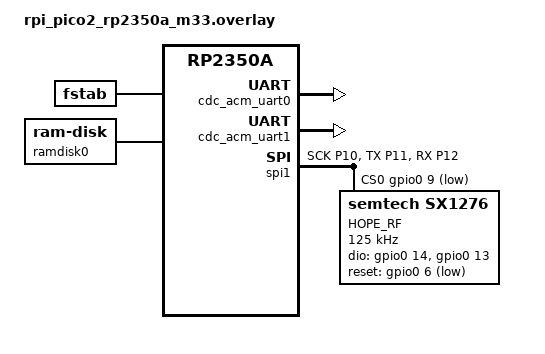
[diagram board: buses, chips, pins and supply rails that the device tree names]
&zephyr_udc0 {
    // Control port
    cdc_acm_uart0: cdc_acm_uart0 {
        compatible = "zephyr,cdc-acm-uart";
    };
    // Data port
    cdc_acm_uart1: cdc_acm_uart1 {
        compatible = "zephyr,cdc-acm-uart";
    };
};

&pinctrl {
    spi1_default: spi1_default {
        group1 {
            pinmux = <SPI1_SCK_P10>, <SPI1_TX_P11>;
        };

        group2 {
            pinmux = <SPI1_RX_P12>;
            input-enable;
        };
    };
};

&spi1 {
    status = "okay";
    cs-gpios = <&gpio0 9 GPIO_ACTIVE_LOW>;
    pinctrl-0 = <&spi1_default>;
    pinctrl-names = "default";

    lora0: sx1276@0 {
        compatible = "semtech,sx1276";
        reg = <0>;
        spi-max-frequency = <125000>;
        dio-gpios =  <&gpio0 14 (GPIO_PULL_DOWN | GPIO_ACTIVE_HIGH)>,<&gpio0 13 (GPIO_PULL_DOWN | GPIO_ACTIVE_HIGH)>;
        reset-gpios = <&gpio0 6 GPIO_ACTIVE_LOW>;
        power-amplifier-output = "pa-boost";
        label = "HOPE_RF";
    };
};

/ {
    chosen {
        zephyr,console = &cdc_acm_uart0;
    };

    fstab {
        compatible = "zephyr,fstab";
        ffs1: ffs1 {
            compatible = "zephyr,fstab,fatfs";
            disk-access;
            automount;
            mount-point = "/";
        };
    };

    ramdisk0 {
        compatible = "zephyr,ram-disk";
        disk-name = "RAM";
        sector-size = <512>;
        sector-count = <128>;
    };
};
